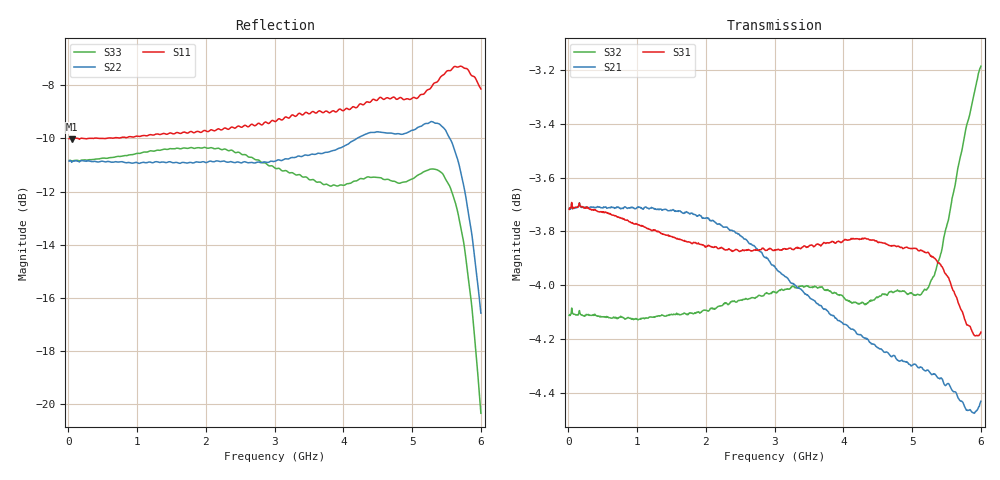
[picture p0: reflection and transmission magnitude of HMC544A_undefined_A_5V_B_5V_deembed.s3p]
! Device:	HMC544A
! Description:	GaAs MMIC SPDT Reflective Switch
! Package:	6-Lead Small Outline Transistor Package
! Frequency:	DC -  4 GHz
! Ports:
! RFC = Port 1
! RF1 = Port 2
! RF2 = Port 3
! State: Undefined
! Control Voltages:
! A  = 5 V
! B  = 5 V
! Data:	Data was collected using a calibrated network analyzer with AFR software.
!	Fixtures were calculated using AFR and fixturing was applied to collect
!	this Deembedded  S Parameter data of HMC544A.
! Note:	Analog Devices supplies this data as a sample of measured data at the package pin
!	for this product.  Your particular data for this product may vary.
!	Data was taken at 25 degrees C.
!	Analog Devices reserves the right to change this data at anytime.
# Hz S  dB  R 50
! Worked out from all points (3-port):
!   801 points, 10 MHz to 6 GHz, reference 50 ohm
!   strongest paths, dB at 10 MHz, 1.508 GHz, 3.005 GHz, 4.503 GHz, 6 GHz:
!     S31: -3.7, -3.8, -3.9, -3.8, -4.2
!     S21: -3.7, -3.7, -3.9, -4.2, -4.4
!     S32: -4.1, -4.1, -4.0, -4.0, -3.2
!   lowest |S11| = -10.0 dB at 47.44 MHz (marker M1), VSWR 1.92, Z = 26.1 + j0.187 ohm
!   |S11| at or under -10 dB: 136.7 MHz to 178.4 MHz (41.65 MHz wide, 26.4 % of centre); 213.8 MHz to 285.3 MHz (71.45 MHz wide, 28.6 % of centre); 511.3 MHz to 544.5 MHz (33.23 MHz wide, 6.29 % of centre)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
1e7  -10.01 179.9  -3.72 -0.2  -3.72 -0.2
     -3.71 -0.2  -10.85 179.8  -4.12 -0.3
     -3.72 -0.1  -4.11 -0.3  -10.83 179.7
4.74375e7  -10.04 179.4  -3.69 -0.6  -3.70 -0.6
           -3.69 -0.6  -10.90 178.7  -4.09 -1.0
           -3.69 -0.6  -4.08 -1.0  -10.88 178.7
1.559912e9  -9.80 159.3  -3.73 -18.5  -3.83 -17.0
            -3.73 -18.5  -10.90 134.7  -4.11 -28.4
            -3.82 -17.0  -4.11 -28.3  -10.38 138.9
3.005e9  -9.36 147.7  -3.93 -36.6  -3.87 -32.4
         -3.93 -36.6  -10.86 100.1  -4.02 -54.2
         -3.87 -32.4  -4.03 -54.2  -11.11 110.1
3.978375e9  -8.94 138.9  -4.14 -48.4  -3.84 -43.7
            -4.14 -48.4  -10.34 74.2  -4.04 -72.1
            -3.84 -43.7  -4.04 -72.1  -11.75 81.1
5.086525e9  -8.46 128.4  -4.31 -62.0  -3.87 -57.9
            -4.31 -62.0  -9.58 48.7  -4.04 -91.9
            -3.87 -57.9  -4.03 -91.8  -11.38 49.5
5.43095e9  -7.65 128.8  -4.35 -66.4  -3.93 -62.5
           -4.35 -66.4  -9.54 48.2  -3.87 -98.8
           -3.93 -62.4  -3.87 -98.7  -11.30 49.2
5.603162e9  -7.32 132.7  -4.40 -68.9  -4.03 -65.0
            -4.40 -68.9  -10.33 50.3  -3.66 -101.6
            -4.02 -65.0  -3.65 -101.6  -12.22 52.0
5.745425e9  -7.34 138.2  -4.44 -71.3  -4.11 -67.4
            -4.44 -71.3  -11.72 51.2  -3.47 -103.6
            -4.11 -67.3  -3.47 -103.6  -13.85 54.0
6e9  -8.14 149.6  -4.43 -76.6  -4.18 -73.0
     -4.43 -76.6  -16.57 38.0  -3.19 -106.6
     -4.17 -73.0  -3.19 -106.5  -20.34 36.5
